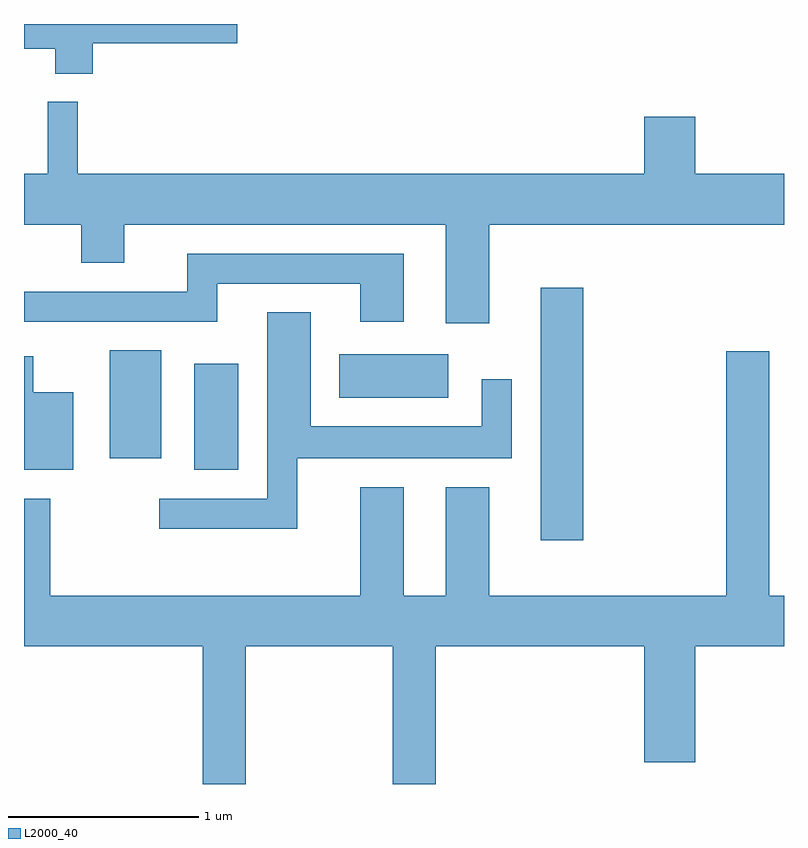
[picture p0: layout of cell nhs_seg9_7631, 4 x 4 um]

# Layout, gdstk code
import gdstk
lib = gdstk.Library(unit=1e-6, precision=1e-09)
def R(c, l, rs):  # rectangles x0, y0, x1, y1
    for r in rs: c.add(gdstk.rectangle(r[:2], r[2:], *l))
def P(c, l, *ps):  # polygons
    for p in ps: c.add(gdstk.Polygon(p, *l))
L2000_40 = (2000, 40)

nhs_seg9_7631 = lib.new_cell('nhs_seg9_7631')
R(nhs_seg9_7631, L2000_40, [(414.331,1985.716,414.554,1987.044), (412.506,1986.086,412.739,1986.644), (412.061,1986.146,412.334,1986.714), (413.271,1986.466,413.844,1986.694)])
P(nhs_seg9_7631, L2000_40, [(411.974,1988.331),(412.734,1988.331),(412.734,1988.432),(411.611,1988.432),(411.611,1988.301),(411.776,1988.301),(411.776,1988.171),(411.974,1988.171)],
  [(414.059,1987.376),(415.611,1987.376),(415.611,1987.644),(415.144,1987.644),(415.144,1987.944),(414.876,1987.944),(414.876,1987.644),(411.894,1987.644),(411.894,1988.023),(411.736,1988.023),(411.736,1987.644),(411.611,1987.644),(411.611,1987.376),(411.911,1987.376),(411.911,1987.176),(412.139,1987.176),(412.139,1987.376),(413.831,1987.376),(413.831,1986.856),(414.059,1986.856)],
  [(412.629,1987.066),(413.381,1987.066),(413.381,1986.866),(413.609,1986.866),(413.609,1987.224),(412.471,1987.224),(412.471,1987.024),(411.611,1987.024),(411.611,1986.866),(412.629,1986.866)],
  [(413.049,1986.146),(414.179,1986.146),(414.179,1986.563),(414.021,1986.563),(414.021,1986.314),(413.119,1986.314),(413.119,1986.914),(412.891,1986.914),(412.891,1985.934),(412.323,1985.934),(412.323,1985.776),(413.049,1985.776)],
  [(412.779,1985.156),(413.551,1985.156),(413.551,1984.432),(413.779,1984.432),(413.779,1985.156),(414.876,1985.156),(414.876,1984.546),(415.144,1984.546),(415.144,1985.156),(415.611,1985.156),(415.611,1985.424),(415.534,1985.424),(415.534,1986.709),(415.306,1986.709),(415.306,1985.424),(414.059,1985.424),(414.059,1985.994),(413.831,1985.994),(413.831,1985.424),(413.609,1985.424),(413.609,1985.994),(413.381,1985.994),(413.381,1985.424),(411.749,1985.424),(411.749,1985.934),(411.611,1985.934),(411.611,1985.156),(412.551,1985.156),(412.551,1984.432),(412.779,1984.432)],
  [(411.869,1986.494),(411.659,1986.494),(411.659,1986.684),(411.611,1986.684),(411.611,1986.086),(411.869,1986.086)])

lib.write_gds('nhs_seg9_7631.gds')
